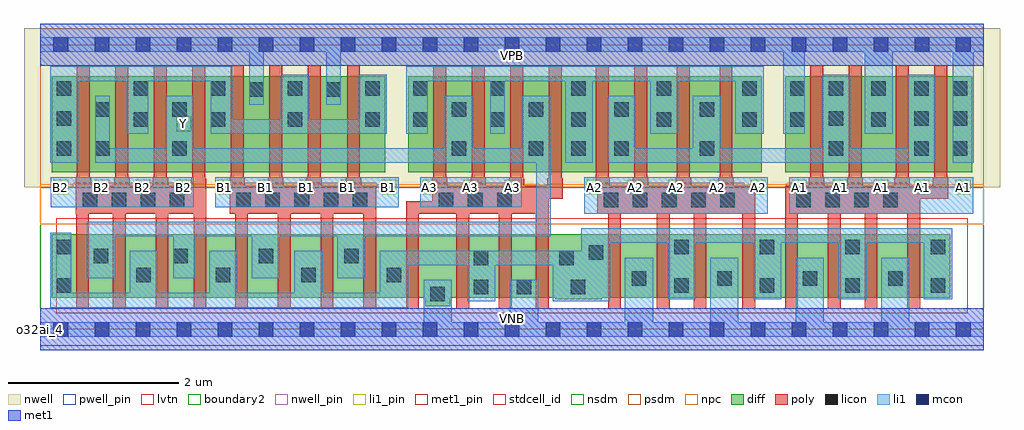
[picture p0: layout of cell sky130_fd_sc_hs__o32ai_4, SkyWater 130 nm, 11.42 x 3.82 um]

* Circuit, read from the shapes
.subckt sky130_fd_sc_hs__o32ai_4 A1 A2 A3 B1 B2 VGND VNB VPB VPWR Y
XM1 Y B2 n1 VNB sky130_fd_pr__nfet_01v8_lvt w=0.74 l=0.15 m=4
XM2 Y B1 n1 VNB sky130_fd_pr__nfet_01v8_lvt w=0.74 l=0.15 m=4
XM3 VGND A3 n1 VNB sky130_fd_pr__nfet_01v8_lvt w=0.74 l=0.15 m=4
XM4 VGND A2 n1 VNB sky130_fd_pr__nfet_01v8_lvt w=0.74 l=0.15 m=4
XM5 VGND A1 n1 VNB sky130_fd_pr__nfet_01v8_lvt w=0.74 l=0.15 m=4
XM6 Y B2 n2 VPB sky130_fd_pr__pfet_01v8 w=1.12 l=0.15 m=4
XM7 VPWR B1 n2 VPB sky130_fd_pr__pfet_01v8 w=1.12 l=0.15 m=4
XM8 Y A3 n3 VPB sky130_fd_pr__pfet_01v8 w=1.12 l=0.15 m=4
XM9 n4 A2 n3 VPB sky130_fd_pr__pfet_01v8 w=1.12 l=0.15 m=4
XM10 n4 A1 VPWR VPB sky130_fd_pr__pfet_01v8 w=1.12 l=0.15 m=4
.ends

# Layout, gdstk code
import gdstk
lib = gdstk.Library(unit=1e-6, precision=1e-09)
def R(c, l, rs):  # rectangles x0, y0, x1, y1
    for r in rs: c.add(gdstk.rectangle(r[:2], r[2:], *l))
def A(c, l, x, y, w, h, nx, ny, dx, dy):  # array of equal rectangles
    R(c, l, [(x+i*dx, y+j*dy, x+i*dx+w, y+j*dy+h) for i in range(nx) for j in range(ny)])
def P(c, l, *ps):  # polygons
    for p in ps: c.add(gdstk.Polygon(p, *l))
nwell_pin = (64, 16)
nwell = (64, 20)
diff = (65, 20)
poly = (66, 20)
licon = (66, 44)
li1_pin = (67, 16)
li1 = (67, 20)
mcon = (67, 44)
met1_pin = (68, 16)
met1 = (68, 20)
stdcell_id = (81, 4)
nsdm = (93, 44)
psdm = (94, 20)
npc = (95, 20)
pwell_pin = (122, 16)
lvtn = (125, 44)
boundary2 = (236, 0)

sky130_fd_sc_hs__o32ai_4 = lib.new_cell('sky130_fd_sc_hs__o32ai_4')
R(sky130_fd_sc_hs__o32ai_4, nwell_pin, [(0,3.085,11.04,3.33)])
R(sky130_fd_sc_hs__o32ai_4, nwell, [(-0.19,1.66,11.23,3.52)])
R(sky130_fd_sc_hs__o32ai_4, diff, [(0.135,1.84,4.035,2.96), (4.305,1.84,8.445,2.96), (8.715,1.84,10.905,2.96)])
P(sky130_fd_sc_hs__o32ai_4, diff, [(10.65,1.11),(0.135,1.11),(0.135,0.37),(4.505,0.37),(4.505,0.27),(4.795,0.27),(4.795,0.37),(6.025,0.37),(6.025,0.35),(6.57,0.35),(6.57,0.37),(10.65,0.37)])
P(sky130_fd_sc_hs__o32ai_4, poly, [(1.945,1.765),(1.93,1.765),(1.93,3.09),(1.78,3.09),(1.78,1.765),(1.765,1.765),(1.765,1.68),(1.495,1.68),(1.495,1.765),(1.48,1.765),(1.48,3.09),(1.33,3.09),(1.33,1.765),(1.315,1.765),(1.315,1.68),(1.045,1.68),(1.045,1.765),(1.03,1.765),(1.03,3.09),(0.88,3.09),(0.88,1.765),(0.865,1.765),(0.865,1.68),(0.595,1.68),(0.595,1.765),(0.58,1.765),(0.58,3.09),(0.43,3.09),(0.43,1.765),(0.415,1.765),(0.415,1.35),(0.42,1.35),(0.42,0.24),(0.57,0.24),(0.57,1.35),(0.85,1.35),(0.85,0.24),(1,0.24),(1,1.35),(1.35,1.35),(1.35,0.24),(1.5,0.24),(1.5,1.35),(1.795,1.35),(1.795,0.24),(1.945,0.24)],
  [(3.93,1.68),(3.755,1.68),(3.755,1.765),(3.74,1.765),(3.74,3.09),(3.59,3.09),(3.59,1.765),(3.575,1.765),(3.575,1.68),(3.295,1.68),(3.295,1.765),(3.28,1.765),(3.28,3.09),(3.13,3.09),(3.13,1.765),(3.115,1.765),(3.115,1.68),(2.845,1.68),(2.845,1.765),(2.83,1.765),(2.83,3.09),(2.68,3.09),(2.68,1.765),(2.665,1.765),(2.665,1.68),(2.395,1.68),(2.395,1.765),(2.38,1.765),(2.38,3.09),(2.23,3.09),(2.23,1.765),(2.215,1.765),(2.215,1.35),(2.28,1.35),(2.28,0.24),(2.43,0.24),(2.43,1.35),(2.78,1.35),(2.78,0.24),(2.93,0.24),(2.93,1.35),(3.28,1.35),(3.28,0.24),(3.43,0.24),(3.43,1.35),(3.78,1.35),(3.78,0.24),(3.93,0.24)],
  [(6.115,1.765),(6.1,1.765),(6.1,3.09),(5.95,3.09),(5.95,1.765),(5.935,1.765),(5.935,1.68),(5.665,1.68),(5.665,1.765),(5.65,1.765),(5.65,3.09),(5.5,3.09),(5.5,1.765),(5.485,1.765),(5.485,1.68),(5.215,1.68),(5.215,1.765),(5.2,1.765),(5.2,3.09),(5.05,3.09),(5.05,1.765),(5.035,1.765),(5.035,1.68),(4.765,1.68),(4.765,1.765),(4.75,1.765),(4.75,3.09),(4.6,3.09),(4.6,1.765),(4.585,1.765),(4.585,1.5),(4.28,1.5),(4.28,0.24),(4.43,0.24),(4.43,1.35),(4.87,1.35),(4.87,0.24),(5.02,0.24),(5.02,1.35),(5.365,1.35),(5.365,0.24),(5.515,0.24),(5.515,1.35),(5.8,1.35),(5.8,0.24),(5.95,0.24),(5.95,1.53),(6.115,1.53)],
  [(8.365,1.68),(8.115,1.68),(8.115,1.765),(8.1,1.765),(8.1,3.09),(7.95,3.09),(7.95,1.765),(7.935,1.765),(7.935,1.68),(7.615,1.68),(7.615,1.765),(7.6,1.765),(7.6,3.09),(7.45,3.09),(7.45,1.765),(7.435,1.765),(7.435,1.68),(7.115,1.68),(7.115,1.765),(7.1,1.765),(7.1,3.09),(6.95,3.09),(6.95,1.765),(6.935,1.765),(6.935,1.68),(6.665,1.68),(6.665,1.765),(6.65,1.765),(6.65,3.09),(6.5,3.09),(6.5,1.68),(6.515,1.68),(6.515,1.35),(6.645,1.35),(6.645,0.24),(6.795,0.24),(6.795,1.35),(7.215,1.35),(7.215,0.24),(7.365,0.24),(7.365,1.35),(7.645,1.35),(7.645,0.24),(7.795,0.24),(7.795,1.35),(8.215,1.35),(8.215,0.24),(8.365,0.24)],
  [(10.625,1.765),(10.61,1.765),(10.61,3.09),(10.46,3.09),(10.46,1.765),(10.445,1.765),(10.445,1.68),(10.175,1.68),(10.175,1.765),(10.16,1.765),(10.16,3.09),(10.01,3.09),(10.01,1.765),(9.995,1.765),(9.995,1.68),(9.625,1.68),(9.625,1.765),(9.61,1.765),(9.61,3.09),(9.46,3.09),(9.46,1.765),(9.445,1.765),(9.445,1.68),(9.175,1.68),(9.175,1.765),(9.16,1.765),(9.16,3.09),(9.01,3.09),(9.01,1.765),(8.995,1.765),(8.995,1.68),(8.715,1.68),(8.715,0.24),(8.865,0.24),(8.865,1.35),(9.215,1.35),(9.215,0.24),(9.365,0.24),(9.365,1.35),(9.645,1.35),(9.645,0.24),(9.795,0.24),(9.795,1.35),(10.145,1.35),(10.145,0.24),(10.295,0.24),(10.295,1.53),(10.625,1.53)])
A(sky130_fd_sc_hs__o32ai_4, licon, 7.42, 0.43, 0.17, 0.17, 4, 2, 1, 0.45)
A(sky130_fd_sc_hs__o32ai_4, licon, 6.92, 0.51, 0.17, 0.17, 4, 1, 1, 0)
A(sky130_fd_sc_hs__o32ai_4, licon, 2.055, 0.55, 0.17, 0.17, 3, 1, 1, 0)
A(sky130_fd_sc_hs__o32ai_4, licon, 1.555, 0.775, 0.17, 0.17, 3, 1, 1, 0)
A(sky130_fd_sc_hs__o32ai_4, licon, 0.495, 1.43, 0.17, 0.17, 4, 1, 0.34, 0)
A(sky130_fd_sc_hs__o32ai_4, licon, 2.295, 1.43, 0.17, 0.17, 5, 1, 0.34, 0)
A(sky130_fd_sc_hs__o32ai_4, licon, 4.665, 1.43, 0.17, 0.17, 3, 1, 0.34, 0)
A(sky130_fd_sc_hs__o32ai_4, licon, 6.595, 1.43, 0.17, 0.17, 5, 1, 0.34, 0)
A(sky130_fd_sc_hs__o32ai_4, licon, 8.845, 1.43, 0.17, 0.17, 4, 1, 0.34, 0)
A(sky130_fd_sc_hs__o32ai_4, licon, 5.715, 2.03, 0.17, 0.17, 3, 1, 0.5, 0)
A(sky130_fd_sc_hs__o32ai_4, licon, 10.675, 2.03, 0.17, 0.17, 1, 3, 0, 0.35)
A(sky130_fd_sc_hs__o32ai_4, licon, 1.095, 2.37, 0.17, 0.17, 3, 1, 0.9, 0)
A(sky130_fd_sc_hs__o32ai_4, licon, 6.215, 2.37, 0.17, 0.17, 3, 2, 1, 0.36)
A(sky130_fd_sc_hs__o32ai_4, licon, 5.715, 2.485, 0.17, 0.17, 3, 1, 1, 0)
A(sky130_fd_sc_hs__o32ai_4, licon, 0.195, 2.73, 0.17, 0.17, 4, 1, 0.9, 0)
A(sky130_fd_sc_hs__o32ai_4, licon, 9.225, 2.73, 0.17, 0.17, 3, 1, 0.5, 0)
R(sky130_fd_sc_hs__o32ai_4, licon, [(4.565,0.33,4.735,0.5), (5.075,0.41,5.245,0.58), (5.575,0.41,5.745,0.58), (6.21,0.41,6.38,0.58), (0.195,0.43,0.365,0.6), (1.125,0.55,1.295,0.72), (5.075,0.75,5.245,0.92), (6.075,0.75,6.245,0.92), (0.625,0.775,0.795,0.945), (6.42,0.815,6.59,0.985), (0.195,0.88,0.365,1.05), (0.195,2.03,0.365,2.2), (0.645,2.03,0.815,2.2), (1.545,2.03,1.715,2.2), (4.815,2.03,4.985,2.2), (7.715,2.03,7.885,2.2), (9.225,2.03,9.395,2.2), (10.225,2.03,10.395,2.2), (3.805,2.37,3.975,2.54), (4.365,2.37,4.535,2.54), (5.265,2.37,5.435,2.54), (8.775,2.37,8.945,2.54), (9.725,2.37,9.895,2.54), (0.195,2.38,0.365,2.55), (9.225,2.38,9.395,2.55), (10.225,2.38,10.395,2.55), (0.645,2.485,0.815,2.655), (1.545,2.485,1.715,2.655), (4.815,2.485,4.985,2.655), (2.445,2.72,2.615,2.89), (3.345,2.72,3.515,2.89), (3.805,2.73,3.975,2.9), (4.365,2.73,4.535,2.9), (5.265,2.73,5.435,2.9), (8.775,2.73,8.945,2.9)])
A(sky130_fd_sc_hs__o32ai_4, li1_pin, 0.155, 1.58, 0.17, 0.17, 12, 1, 0.48, 0)
A(sky130_fd_sc_hs__o32ai_4, li1_pin, 6.395, 1.58, 0.17, 0.17, 10, 1, 0.48, 0)
R(sky130_fd_sc_hs__o32ai_4, li1_pin, [(1.595,2.32,1.765,2.49)])
R(sky130_fd_sc_hs__o32ai_4, li1, [(6.365,1.35,8.515,1.78), (8.765,1.35,10.915,1.78), (0.125,1.43,1.795,1.78), (2.045,1.43,4.195,1.78), (4.445,1.43,5.635,1.78)])
P(sky130_fd_sc_hs__o32ai_4, li1, [(0,-0.085),(0,0.085),(4.485,0.085),(4.485,0.58),(4.815,0.58),(4.815,0.085),(5.495,0.085),(5.495,0.58),(5.825,0.58),(5.825,0.085),(6.84,0.085),(6.84,0.84),(7.17,0.84),(7.17,0.085),(7.84,0.085),(7.84,0.84),(8.17,0.84),(8.17,0.085),(8.84,0.085),(8.84,0.84),(9.17,0.84),(9.17,0.085),(9.84,0.085),(9.84,0.84),(10.17,0.84),(10.17,0.085),(11.04,0.085),(11.04,-0.085)],
  [(0,3.245),(0,3.415),(11.04,3.415),(11.04,3.245),(10.925,3.245),(10.925,1.95),(10.675,1.95),(10.675,3.245),(9.975,3.245),(9.975,2.29),(9.645,2.29),(9.645,3.245),(8.945,3.245),(8.945,2.29),(8.695,2.29),(8.695,3.245),(3.515,3.245),(3.515,2.63),(3.345,2.63),(3.345,3.245),(2.615,3.245),(2.615,2.63),(2.445,2.63),(2.445,3.245)],
  [(1.465,2.12),(1.465,2.735),(1.795,2.735),(1.795,2.12),(4.735,2.12),(4.735,2.735),(5.065,2.735),(5.065,2.12),(5.635,2.12),(5.635,2.735),(5.965,2.735),(5.965,2.12),(5.975,2.12),(5.975,1.09),(3.805,1.09),(3.805,0.595),(3.475,0.595),(3.475,1.09),(2.805,1.09),(2.805,0.595),(2.475,0.595),(2.475,1.09),(1.805,1.09),(1.805,0.595),(1.555,0.595),(1.555,1.09),(0.875,1.09),(0.875,0.595),(0.545,0.595),(0.545,1.26),(5.805,1.26),(5.805,1.95),(0.645,1.95),(0.645,2.735),(0.815,2.735),(0.815,2.12)],
  [(9.475,2.12),(10.145,2.12),(10.145,2.98),(10.475,2.98),(10.475,1.95),(6.635,1.95),(6.635,2.735),(6.965,2.735),(6.965,2.12),(7.635,2.12),(7.635,2.735),(7.965,2.735),(7.965,2.12),(9.145,2.12),(9.145,2.98),(9.475,2.98)],
  [(3.305,0.425),(3.975,0.425),(3.975,0.92),(6.33,0.92),(6.33,1.18),(10.67,1.18),(10.67,0.35),(10.34,0.35),(10.34,1.01),(9.67,1.01),(9.67,0.35),(9.34,0.35),(9.34,1.01),(8.67,1.01),(8.67,0.35),(8.34,0.35),(8.34,1.01),(7.67,1.01),(7.67,0.35),(7.34,0.35),(7.34,1.01),(6.67,1.01),(6.67,0.33),(5.995,0.33),(5.995,0.75),(5.325,0.75),(5.325,0.33),(4.995,0.33),(4.995,0.75),(4.305,0.75),(4.305,0.255),(0.115,0.255),(0.115,1.13),(0.365,1.13),(0.365,0.425),(1.045,0.425),(1.045,0.92),(1.375,0.92),(1.375,0.425),(1.975,0.425),(1.975,0.92),(2.305,0.92),(2.305,0.425),(2.975,0.425),(2.975,0.92),(3.305,0.92)],
  [(4.285,2.29),(4.285,3.075),(8.465,3.075),(8.465,2.29),(8.135,2.29),(8.135,2.905),(7.465,2.905),(7.465,2.29),(7.135,2.29),(7.135,2.905),(6.465,2.905),(6.465,1.95),(6.145,1.95),(6.145,2.905),(5.435,2.905),(5.435,2.29),(5.265,2.29),(5.265,2.905),(4.535,2.905),(4.535,2.29)],
  [(0.115,1.95),(0.115,3.075),(2.245,3.075),(2.245,2.46),(2.815,2.46),(2.815,2.98),(3.145,2.98),(3.145,2.46),(3.725,2.46),(3.725,2.98),(4.055,2.98),(4.055,2.29),(1.995,2.29),(1.995,2.905),(1.265,2.905),(1.265,2.29),(1.015,2.29),(1.015,2.905),(0.445,2.905),(0.445,1.95)])
A(sky130_fd_sc_hs__o32ai_4, mcon, 0.155, -0.085, 0.17, 0.17, 23, 2, 0.48, 3.33)
R(sky130_fd_sc_hs__o32ai_4, met1_pin, [(0,0,11.04,0.245), (0,3.085,11.04,3.33)])
R(sky130_fd_sc_hs__o32ai_4, met1, [(0,-0.245,11.04,0.245), (0,3.085,11.04,3.575)])
R(sky130_fd_sc_hs__o32ai_4, stdcell_id, [(0,0,11.04,3.33)])
R(sky130_fd_sc_hs__o32ai_4, nsdm, [(0,-0.19,11.04,1.66)])
P(sky130_fd_sc_hs__o32ai_4, psdm, [(11.04,3.52),(0,3.52),(0,1.66),(0.385,1.66),(0.385,1.71),(1.795,1.71),(1.795,1.66),(2.185,1.66),(2.185,1.71),(3.935,1.71),(3.935,1.66),(4.555,1.66),(4.555,1.71),(5.625,1.71),(5.625,1.66),(6.485,1.66),(6.485,1.71),(8.235,1.71),(8.235,1.66),(8.735,1.66),(8.735,1.71),(10.145,1.71),(10.145,1.66),(11.04,1.66)])
R(sky130_fd_sc_hs__o32ai_4, npc, [(0,1.23,11.04,1.7)])
R(sky130_fd_sc_hs__o32ai_4, pwell_pin, [(0,0,11.04,0.245)])
R(sky130_fd_sc_hs__o32ai_4, lvtn, [(0.19,0.19,10.85,1.3)])
R(sky130_fd_sc_hs__o32ai_4, boundary2, [(0,0,11.04,3.33)])
sky130_fd_sc_hs__o32ai_4.add(gdstk.Label('o32ai_4', (0,0), layer=83, texttype=44))
sky130_fd_sc_hs__o32ai_4.add(gdstk.Label('VNB', (5.52,0.123), layer=64, texttype=59))
sky130_fd_sc_hs__o32ai_4.add(gdstk.Label('VPB', (5.52,3.208), layer=64, texttype=5))
sky130_fd_sc_hs__o32ai_4.add(gdstk.Label('VPWR', (5.52,3.208), layer=68, texttype=5))
sky130_fd_sc_hs__o32ai_4.add(gdstk.Label('VGND', (5.52,0.123), layer=68, texttype=5))
sky130_fd_sc_hs__o32ai_4.add(gdstk.Label('Y', (1.68,2.405), layer=67, texttype=5))
sky130_fd_sc_hs__o32ai_4.add(gdstk.Label('B2', (0.24,1.665), layer=67, texttype=5))
sky130_fd_sc_hs__o32ai_4.add(gdstk.Label('B2', (0.72,1.665), layer=67, texttype=5))
sky130_fd_sc_hs__o32ai_4.add(gdstk.Label('B2', (1.2,1.665), layer=67, texttype=5))
sky130_fd_sc_hs__o32ai_4.add(gdstk.Label('B2', (1.68,1.665), layer=67, texttype=5))
sky130_fd_sc_hs__o32ai_4.add(gdstk.Label('B1', (2.16,1.665), layer=67, texttype=5))
sky130_fd_sc_hs__o32ai_4.add(gdstk.Label('B1', (2.64,1.665), layer=67, texttype=5))
sky130_fd_sc_hs__o32ai_4.add(gdstk.Label('B1', (3.12,1.665), layer=67, texttype=5))
sky130_fd_sc_hs__o32ai_4.add(gdstk.Label('B1', (3.6,1.665), layer=67, texttype=5))
sky130_fd_sc_hs__o32ai_4.add(gdstk.Label('B1', (4.08,1.665), layer=67, texttype=5))
sky130_fd_sc_hs__o32ai_4.add(gdstk.Label('A3', (4.56,1.665), layer=67, texttype=5))
sky130_fd_sc_hs__o32ai_4.add(gdstk.Label('A3', (5.04,1.665), layer=67, texttype=5))
sky130_fd_sc_hs__o32ai_4.add(gdstk.Label('A3', (5.52,1.665), layer=67, texttype=5))
sky130_fd_sc_hs__o32ai_4.add(gdstk.Label('A2', (6.48,1.665), layer=67, texttype=5))
sky130_fd_sc_hs__o32ai_4.add(gdstk.Label('A2', (6.96,1.665), layer=67, texttype=5))
sky130_fd_sc_hs__o32ai_4.add(gdstk.Label('A2', (7.44,1.665), layer=67, texttype=5))
sky130_fd_sc_hs__o32ai_4.add(gdstk.Label('A2', (7.92,1.665), layer=67, texttype=5))
sky130_fd_sc_hs__o32ai_4.add(gdstk.Label('A2', (8.4,1.665), layer=67, texttype=5))
sky130_fd_sc_hs__o32ai_4.add(gdstk.Label('A1', (8.88,1.665), layer=67, texttype=5))
sky130_fd_sc_hs__o32ai_4.add(gdstk.Label('A1', (9.36,1.665), layer=67, texttype=5))
sky130_fd_sc_hs__o32ai_4.add(gdstk.Label('A1', (9.84,1.665), layer=67, texttype=5))
sky130_fd_sc_hs__o32ai_4.add(gdstk.Label('A1', (10.32,1.665), layer=67, texttype=5))
sky130_fd_sc_hs__o32ai_4.add(gdstk.Label('A1', (10.8,1.665), layer=67, texttype=5))

lib.write_gds('sky130_fd_sc_hs__o32ai_4.gds')
